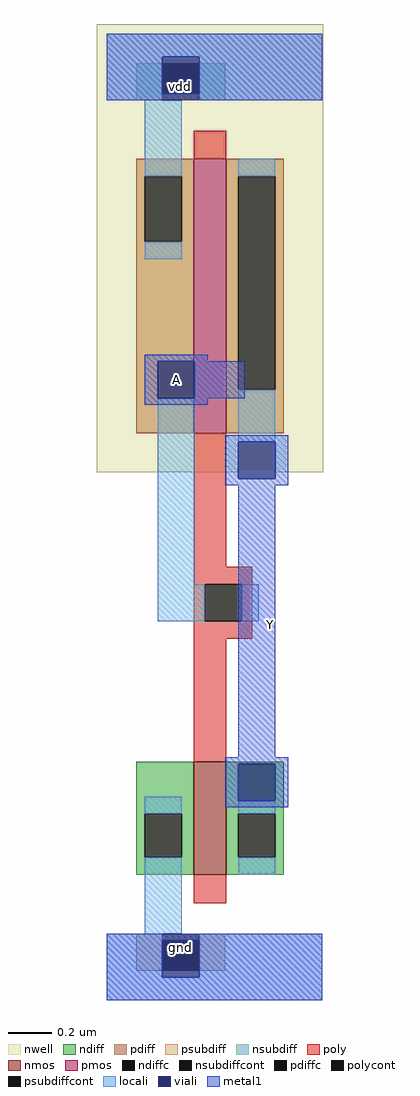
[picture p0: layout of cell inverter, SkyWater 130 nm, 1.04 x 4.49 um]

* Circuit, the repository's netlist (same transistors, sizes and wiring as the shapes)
* SPICE3 file created from inverter.ext - technology: sky130A

.subckt inverter Y A
M1000 Y A vdd vdd pshort w=1.26u l=0.15u
+  ad=0.3339p pd=3.05u as=0.3339p ps=3.05u
M1001 Y A gnd gnd nshort w=0.52u l=0.15u
+  ad=0.1378p pd=1.57u as=0.1378p ps=1.57u
.ends

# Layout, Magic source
magic
tech sky130A
magscale 1 2
<< nwell >>
rect -9 485 199 897
<< nmos >>
rect 80 115 110 219
<< pmos >>
rect 80 521 110 773
<< ndiff >>
rect 27 171 80 219
rect 27 131 35 171
rect 69 131 80 171
rect 27 115 80 131
rect 110 171 163 219
rect 110 131 121 171
rect 155 131 163 171
rect 110 115 163 131
<< pdiff >>
rect 27 757 80 773
rect 27 697 35 757
rect 69 697 80 757
rect 27 521 80 697
rect 110 757 163 773
rect 110 561 121 757
rect 155 561 163 757
rect 110 521 163 561
<< ndiffc >>
rect 35 131 69 171
rect 121 131 155 171
<< pdiffc >>
rect 35 697 69 757
rect 121 561 155 757
<< psubdiff >>
rect 27 27 51 61
rect 85 27 109 61
<< nsubdiff >>
rect 27 827 51 861
rect 85 827 109 861
<< psubdiffcont >>
rect 51 27 85 61
<< nsubdiffcont >>
rect 51 827 85 861
<< poly >>
rect 80 773 110 799
rect 80 398 110 521
rect 80 382 134 398
rect 80 348 90 382
rect 124 348 134 382
rect 80 332 134 348
rect 80 219 110 332
rect 80 89 110 115
<< polycont >>
rect 90 348 124 382
<< locali >>
rect 0 867 198 888
rect 0 827 51 867
rect 85 827 198 867
rect 35 757 69 827
rect 35 681 69 697
rect 121 757 155 773
rect 47 382 81 553
rect 121 513 155 561
rect 47 348 90 382
rect 124 348 140 382
rect 35 171 69 187
rect 35 61 69 131
rect 121 171 155 183
rect 121 115 155 131
rect 0 21 51 61
rect 85 21 198 61
rect 0 0 198 21
<< viali >>
rect 51 861 85 867
rect 51 833 85 861
rect 47 553 81 587
rect 121 479 155 513
rect 121 183 155 217
rect 51 27 85 55
rect 51 21 85 27
<< metal1 >>
rect 0 867 198 888
rect 0 833 51 867
rect 85 833 198 867
rect 0 827 198 833
rect 35 587 93 593
rect 35 553 47 587
rect 81 553 127 587
rect 35 547 93 553
rect 109 513 167 519
rect 109 479 121 513
rect 155 479 167 513
rect 109 473 167 479
rect 121 223 155 473
rect 109 217 167 223
rect 109 183 121 217
rect 155 183 167 217
rect 109 177 167 183
rect 0 55 198 61
rect 0 21 51 55
rect 85 21 198 55
rect 0 0 198 21
<< labels >>
rlabel metal1 151 345 151 345 1 Y
port 1 n
rlabel viali 64 570 64 570 1 A
port 2 n
rlabel viali 68 48 68 48 1 gnd
rlabel viali 68 840 68 840 1 vdd
<< end >>
